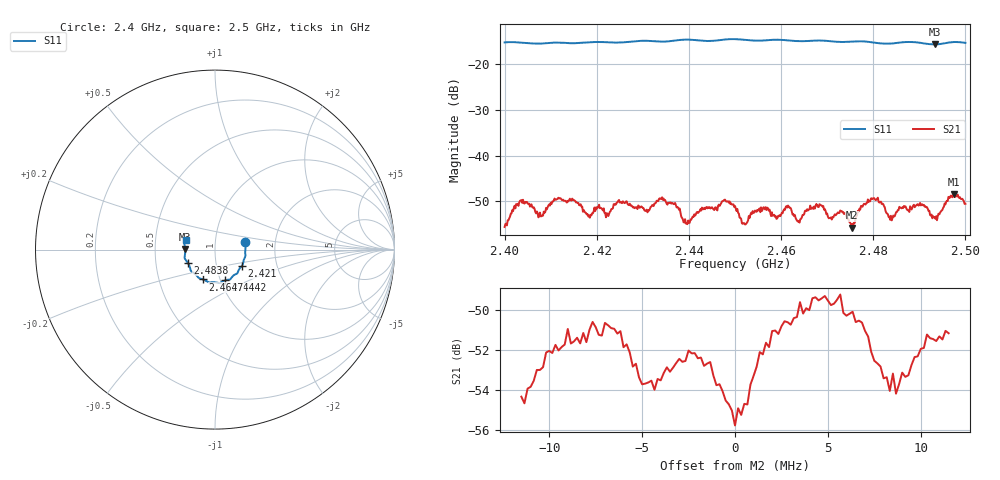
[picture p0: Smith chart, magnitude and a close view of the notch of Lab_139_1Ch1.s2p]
# Hz S RI R 50
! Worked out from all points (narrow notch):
!   601 points, 2.4 GHz to 2.5 GHz, reference 50 ohm
!   highest |S21| = -48.39 dB at 2.4975 GHz (marker M1); lowest = -55.8 dB at 2.4753 GHz (marker M2)
!   notch at M2: 4.3 dB deep, 1.93 MHz wide at half that depth
!   lowest |S11| = -15.6 dB at 2.4933 GHz (marker M3), VSWR 1.40, Z = 35.8 + j0.0414 ohm
!   |S11| at or under -10 dB: start of sweep to end of sweep
!   S12 and S22 are empty: the file has one direction only
!   S11 on the Smith chart (normalised r, x): 2.4 GHz: 1.40, +0.12; 2.421 GHz: 1.33, -0.24; 2.4442 GHz: 1.05, -0.37; 2.4647 GHz: 0.83, -0.28; 2.4838 GHz: 0.73, -0.11; 2.5 GHz: 0.71, +0.08
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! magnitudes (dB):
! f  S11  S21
! 2.4 GHz  -15.2  -55.6
! 2.4037 GHz  -15.3  -49.7
! 2.4078 GHz  -15.5  -53.3
! 2.4113 GHz  -15.2  -49.5
! 2.4167 GHz  -15.3  -51.1
! 2.421 GHz  -15.1  -51.5
! 2.4333 GHz  -15.0  -50.0
! 2.4395 GHz  -14.6  -54.8
! 2.4442 GHz  -14.9  -51.3
! 2.45 GHz  -14.5  -51.0
! 2.452 GHz  -14.6  -54.8
! 2.4562 GHz  -14.8  -51.3
! 2.4647 GHz  -14.9  -53.0
! 2.4667 GHz  -14.8  -51.6
! 2.4753 GHz  -15.0  -55.8
! 2.4798 GHz  -15.2  -49.5
! 2.4833 GHz  -15.5  -53.4
! 2.4838 GHz  -15.5  -53.2
! 2.4902 GHz  -15.3  -50.4
! 2.4933 GHz  -15.6  -53.5
! 2.4975 GHz  -15.1  -48.4
! 2.5 GHz  -15.3  -50.6
